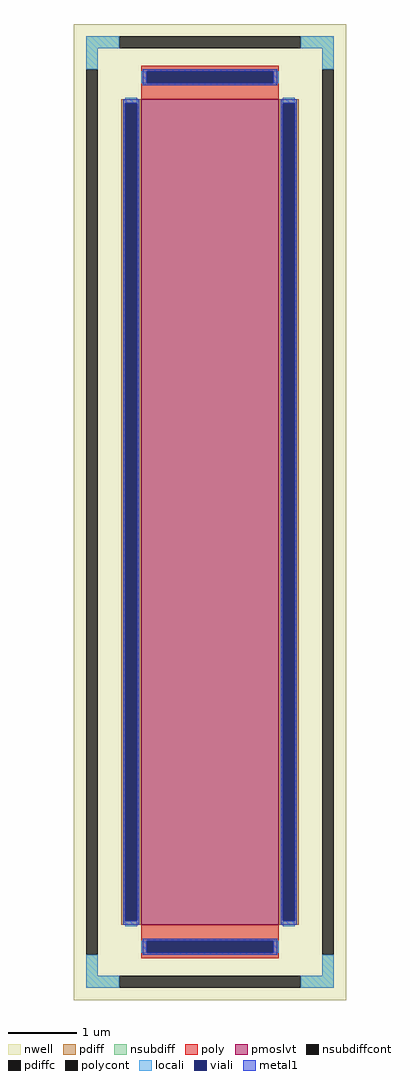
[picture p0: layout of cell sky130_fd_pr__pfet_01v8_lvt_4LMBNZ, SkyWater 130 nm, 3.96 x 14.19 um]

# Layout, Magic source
magic
tech sky130A
magscale 1 2
<< nwell >>
rect -396 -1419 396 1419
<< pmoslvt >>
rect -200 -1200 200 1200
<< pdiff >>
rect -258 1188 -200 1200
rect -258 -1188 -246 1188
rect -212 -1188 -200 1188
rect -258 -1200 -200 -1188
rect 200 1188 258 1200
rect 200 -1188 212 1188
rect 246 -1188 258 1188
rect 200 -1200 258 -1188
<< pdiffc >>
rect -246 -1188 -212 1188
rect 212 -1188 246 1188
<< nsubdiff >>
rect -360 1349 -264 1383
rect 264 1349 360 1383
rect -360 1287 -326 1349
rect 326 1287 360 1349
rect -360 -1349 -326 -1287
rect 326 -1349 360 -1287
rect -360 -1383 -264 -1349
rect 264 -1383 360 -1349
<< nsubdiffcont >>
rect -264 1349 264 1383
rect -360 -1287 -326 1287
rect 326 -1287 360 1287
rect -264 -1383 264 -1349
<< poly >>
rect -200 1281 200 1297
rect -200 1247 -184 1281
rect 184 1247 200 1281
rect -200 1200 200 1247
rect -200 -1247 200 -1200
rect -200 -1281 -184 -1247
rect 184 -1281 200 -1247
rect -200 -1297 200 -1281
<< polycont >>
rect -184 1247 184 1281
rect -184 -1281 184 -1247
<< locali >>
rect -360 1349 -264 1383
rect 264 1349 360 1383
rect -360 1287 -326 1349
rect 326 1287 360 1349
rect -200 1247 -184 1281
rect 184 1247 200 1281
rect -246 1188 -212 1204
rect -246 -1204 -212 -1188
rect 212 1188 246 1204
rect 212 -1204 246 -1188
rect -200 -1281 -184 -1247
rect 184 -1281 200 -1247
rect -360 -1349 -326 -1287
rect 326 -1349 360 -1287
rect -360 -1383 -264 -1349
rect 264 -1383 360 -1349
<< viali >>
rect -184 1247 184 1281
rect -246 -1188 -212 1188
rect 212 -1188 246 1188
rect -184 -1281 184 -1247
<< metal1 >>
rect -196 1281 196 1287
rect -196 1247 -184 1281
rect 184 1247 196 1281
rect -196 1241 196 1247
rect -252 1188 -206 1200
rect -252 -1188 -246 1188
rect -212 -1188 -206 1188
rect -252 -1200 -206 -1188
rect 206 1188 252 1200
rect 206 -1188 212 1188
rect 246 -1188 252 1188
rect 206 -1200 252 -1188
rect -196 -1247 196 -1241
rect -196 -1281 -184 -1247
rect 184 -1281 196 -1247
rect -196 -1287 196 -1281
<< properties >>
string FIXED_BBOX -343 -1366 343 1366
string gencell sky130_fd_pr__pfet_01v8_lvt
string library sky130
string parameters w 12.0 l 2.0 m 1 nf 1 diffcov 100 polycov 100 guard 1 glc 1 grc 1 gtc 1 gbc 1 tbcov 100 rlcov 100 topc 1 botc 1 poverlap 0 doverlap 1 lmin 0.35 wmin 0.42 compatible {sky130_fd_pr__pfet_01v8  sky130_fd_pr__pfet_01v8_lvt sky130_fd_pr__pfet_01v8_hvt  sky130_fd_pr__pfet_g5v0d10v5} full_metal 1 viasrc 100 viadrn 100 viagate 100 viagb 0 viagr 0 viagl 0 viagt 0
<< end >>
